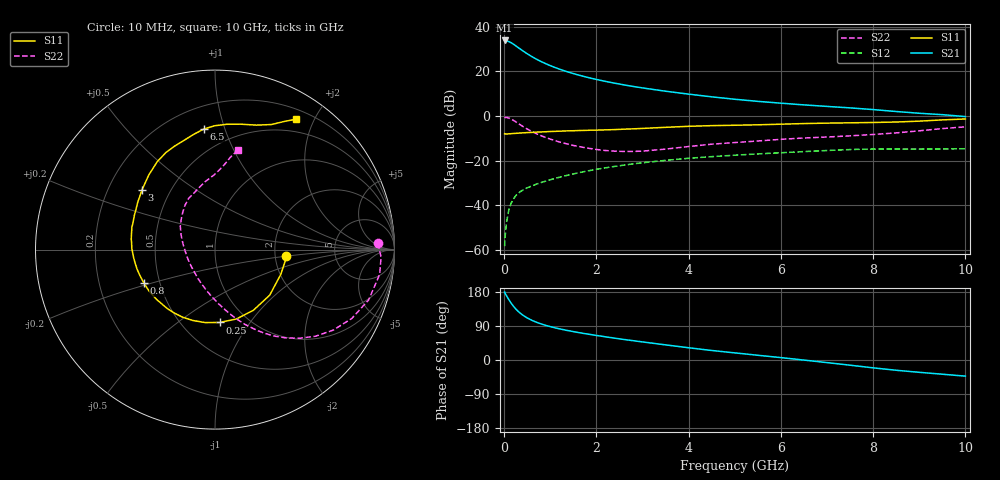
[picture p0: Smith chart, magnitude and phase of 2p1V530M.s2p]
! (c) 2009  Infineon Technologies AG, Munich
! Infineon Technologies  Discrete & RF Semiconductors
! BFP420
! VCE =  1.5 V,  IC =  30 mA
! Common Emitter S-Parameters:  Nov 2009
# GHz  S  MA  R  50
!  f  S11  S21  S12  S22
! GHz  MAG  ANG  MAG  ANG  MAG  ANG  MAG  ANG
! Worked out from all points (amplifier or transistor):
!   46 points, 10 MHz to 10 GHz, reference 50 ohm
!   highest |S21| = 33.9 dB at 10 MHz (marker M1)
!   |S21| within 3 dB of that: start of sweep to 291.9 MHz
!   unconditionally stable (mu >= 1): start of sweep to 12.07 MHz; 1.466 GHz to end of sweep
!   at 300 MHz: K = 0.41, MSG = 32.8 dB, |S12| = -34.8 dB
!   at 1.7 GHz: K = 1.04, MAG = 20.2 dB, |S12| = -25.1 dB
!   at 10 GHz: K = 1.06, MAG = 5.8 dB, |S12| = -14.7 dB
!   lowest NFmin = 1.51 dB at 900 MHz
!   S11 on the Smith chart (normalised r, x): 10 MHz: 2.31, -0.21; 250 MHz: 0.75, -0.73; 800 MHz: 0.41, -0.19; 3 GHz: 0.35, +0.32; 6.5 GHz: 0.34, +0.85; 10 GHz: 0.32, +1.75
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0.01  0.3996 -5.4  49.33 179.5  0.0012 110.2  0.9074 2.2
0.02  0.3973 -8.4  48.52 176.1  0.0019 92.1  0.9265 -2.6
0.05  0.3917 -20.6  48.18 169.8  0.004 83.6  0.9276 -8.6
0.1  0.3968 -39.8  46.65 159.7  0.0077 78.2  0.9008 -18.1
0.15  0.4 -57.7  43.91 150.3  0.011 72.8  0.8534 -26.7
0.2  0.4046 -72.9  40.78 142.2  0.0137 68.4  0.7974 -34.2
0.25  0.4068 -86.4  37.44 135.0  0.0162 64.9  0.7398 -40.7
0.35  0.4138 -107.5  31.63 123.5  0.02 60.5  0.6327 -51.1
0.4  0.4178 -115.7  29.1 118.8  0.0216 59.0  0.5867 -55.3
0.5  0.4227 -129.1  24.81 111.0  0.0244 57.4  0.5087 -62.4
0.6  0.428 -139.7  21.44 104.7  0.027 56.5  0.4478 -68.3
0.8  0.4378 -154.8  16.62 95.3  0.032 56.1  0.3606 -77.8
1.2  0.4553 -174.2  11.21 82.2  0.0422 55.8  0.2608 -94.4
1.7  0.4729 169.9  7.829 70.6  0.0555 54.0  0.1986 -114.3
2.2  0.4876 157.4  5.952 61.1  0.0687 50.7  0.1676 -135.2
3  0.5248 140.9  4.254 47.7  0.089 44.0  0.1625 -170.8
3.5  0.5558 131.6  3.586 39.9  0.1009 39.2  0.1805 170.5
5.5  0.6327 105.8  2.125 12.5  0.1407 20.3  0.2746 130.9
6.5  0.6747 95.3  1.77 -0.2  0.1586 10.9  0.3205 117.3
7  0.6901 90.1  1.636 -6.9  0.1679 5.9  0.3367 110.3
8.5  0.7309 71.6  1.257 -27.1  0.1808 -11.4  0.4168 90.6
10  0.8553 58.1  0.968 -42.6  0.1833 -22.6  0.5692 77.1
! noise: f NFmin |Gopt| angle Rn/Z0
0.9  1.51  0.26  -155  0.13
1.8  1.78  0.33  -142  0.14
2.4  1.96  0.3  -136  0.18
3  1.98  0.38  -127  0.2
4  2.11  0.47  -111  0.31
5  2.57  0.53  -94  0.51
6  3  0.57  -82  0.74
